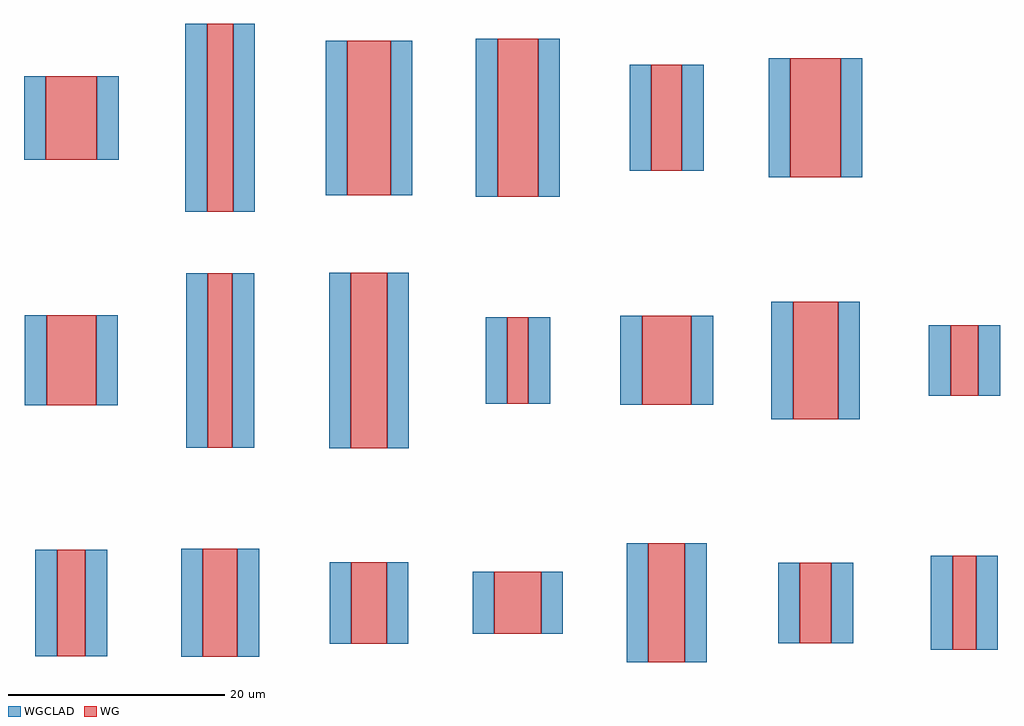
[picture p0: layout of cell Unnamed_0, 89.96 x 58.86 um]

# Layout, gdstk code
from math import pi, radians
import gdstk
lib = gdstk.Library(unit=1e-6, precision=1e-09)
def R(c, l, rs):  # rectangles x0, y0, x1, y1
    for r in rs: c.add(gdstk.rectangle(r[:2], r[2:], *l))
WG = (1, 0)
WGCLAD = (111, 0)

straight_cssym_f7fe636c_ = lib.new_cell('straight_CSsym_f7fe636c_4720_L7701')
R(straight_cssym_f7fe636c_, WG, [(0,-2.36,7.701,2.36)])
R(straight_cssym_f7fe636c_, WGCLAD, [(0,-4.36,7.701,-2.36), (0,2.36,7.701,4.36)])

c_straight_cssym_f7fe636c_ = lib.new_cell('straight_CSsym_f7fe636c_2562_L6484')
R(c_straight_cssym_f7fe636c_, WG, [(0,-1.281,6.484,1.281)])
R(c_straight_cssym_f7fe636c_, WGCLAD, [(0,-3.281,6.484,-1.281), (0,1.281,6.484,3.281)])

c_straight_cssym_f7fe636c__ = lib.new_cell('straight_CSsym_f7fe636c_2604_L9810')
R(c_straight_cssym_f7fe636c__, WG, [(0,-1.302,9.81,1.302)])
R(c_straight_cssym_f7fe636c__, WGCLAD, [(0,-3.302,9.81,-1.302), (0,1.302,9.81,3.302)])

c_straight_cssym_f7fe636c___ = lib.new_cell('straight_CSsym_f7fe636c_3188_L9938')
R(c_straight_cssym_f7fe636c___, WG, [(0,-1.594,9.938,1.594)])
R(c_straight_cssym_f7fe636c___, WGCLAD, [(0,-3.594,9.938,-1.594), (0,1.594,9.938,3.594)])

c_straight_cssym_f7fe636c____ = lib.new_cell('straight_CSsym_f7fe636c_3258_L7513')
R(c_straight_cssym_f7fe636c____, WG, [(0,-1.629,7.513,1.629)])
R(c_straight_cssym_f7fe636c____, WGCLAD, [(0,-3.629,7.513,-1.629), (0,1.629,7.513,3.629)])

c_straight_cssym_f7fe636c_____ = lib.new_cell('straight_CSsym_f7fe636c_4320_L5703')
R(c_straight_cssym_f7fe636c_____, WG, [(0,-2.16,5.703,2.16)])
R(c_straight_cssym_f7fe636c_____, WGCLAD, [(0,-4.16,5.703,-2.16), (0,2.16,5.703,4.16)])

c_straight_cssym_f7fe636c______ = lib.new_cell('straight_CSsym_f7fe636c_3368_L10958')
R(c_straight_cssym_f7fe636c______, WG, [(0,-1.684,10.958,1.684)])
R(c_straight_cssym_f7fe636c______, WGCLAD, [(0,-3.684,10.958,-1.684), (0,1.684,10.958,3.684)])

c_straight_cssym_f7fe636c_______ = lib.new_cell('straight_CSsym_f7fe636c_2906_L7434')
R(c_straight_cssym_f7fe636c_______, WG, [(0,-1.453,7.434,1.453)])
R(c_straight_cssym_f7fe636c_______, WGCLAD, [(0,-3.453,7.434,-1.453), (0,1.453,7.434,3.453)])

c_straight_cssym_f7fe636c________ = lib.new_cell('straight_CSsym_f7fe636c_2406_L17353')
R(c_straight_cssym_f7fe636c________, WG, [(0,-1.203,17.353,1.203)])
R(c_straight_cssym_f7fe636c________, WGCLAD, [(0,-3.203,17.353,-1.203), (0,1.203,17.353,3.203)])

c_straight_cssym_f7fe636c_________ = lib.new_cell('straight_CSsym_f7fe636c_2172_L8646')
R(c_straight_cssym_f7fe636c_________, WG, [(0,-1.086,8.646,1.086)])
R(c_straight_cssym_f7fe636c_________, WGCLAD, [(0,-3.086,8.646,-1.086), (0,1.086,8.646,3.086)])

c_straight_cssym_f7fe636c__________ = lib.new_cell('straight_CSsym_f7fe636c_4016_L14245')
R(c_straight_cssym_f7fe636c__________, WG, [(0,-2.008,14.245,2.008)])
R(c_straight_cssym_f7fe636c__________, WGCLAD, [(0,-4.008,14.245,-2.008), (0,2.008,14.245,4.008)])

c_straight_cssym_f7fe636c___________ = lib.new_cell('straight_CSsym_f7fe636c_4558_L8291')
R(c_straight_cssym_f7fe636c___________, WG, [(0,-2.279,8.291,2.279)])
R(c_straight_cssym_f7fe636c___________, WGCLAD, [(0,-4.279,8.291,-2.279), (0,2.279,8.291,4.279)])

c_straight_cssym_f7fe636c____________ = lib.new_cell('straight_CSsym_f7fe636c_3736_L14575')
R(c_straight_cssym_f7fe636c____________, WG, [(0,-1.868,14.575,1.868)])
R(c_straight_cssym_f7fe636c____________, WGCLAD, [(0,-3.868,14.575,-1.868), (0,1.868,14.575,3.868)])

c_straight_cssym_f7fe636c_____________ = lib.new_cell('straight_CSsym_f7fe636c_2244_L16070')
R(c_straight_cssym_f7fe636c_____________, WG, [(0,-1.122,16.07,1.122)])
R(c_straight_cssym_f7fe636c_____________, WGCLAD, [(0,-3.122,16.07,-1.122), (0,1.122,16.07,3.122)])

c_straight_cssym_f7fe636c______________ = lib.new_cell('straight_CSsym_f7fe636c_2806_L9756')
R(c_straight_cssym_f7fe636c______________, WG, [(0,-1.403,9.756,1.403)])
R(c_straight_cssym_f7fe636c______________, WGCLAD, [(0,-3.403,9.756,-1.403), (0,1.403,9.756,3.403)])

c_straight_cssym_f7fe636c_______________ = lib.new_cell('straight_CSsym_f7fe636c_3324_L16189')
R(c_straight_cssym_f7fe636c_______________, WG, [(0,-1.662,16.189,1.662)])
R(c_straight_cssym_f7fe636c_______________, WGCLAD, [(0,-3.662,16.189,-1.662), (0,1.662,16.189,3.662)])

c_straight_cssym_f7fe636c________________ = lib.new_cell('straight_CSsym_f7fe636c_4626_L10961')
R(c_straight_cssym_f7fe636c________________, WG, [(0,-2.313,10.961,2.313)])
R(c_straight_cssym_f7fe636c________________, WGCLAD, [(0,-4.313,10.961,-2.313), (0,2.313,10.961,4.313)])

c_straight_cssym_f7fe636c_________________ = lib.new_cell('straight_CSsym_f7fe636c_1962_L7957')
R(c_straight_cssym_f7fe636c_________________, WG, [(0,-0.981,7.957,0.981)])
R(c_straight_cssym_f7fe636c_________________, WGCLAD, [(0,-2.981,7.957,-0.981), (0,0.981,7.957,2.981)])

c_straight_cssym_f7fe636c__________________ = lib.new_cell('straight_CSsym_f7fe636c_4538_L8193')
R(c_straight_cssym_f7fe636c__________________, WG, [(0,-2.269,8.193,2.269)])
R(c_straight_cssym_f7fe636c__________________, WGCLAD, [(0,-4.269,8.193,-2.269), (0,2.269,8.193,4.269)])

c_straight_cssym_f7fe636c___________________ = lib.new_cell('straight_CSsym_f7fe636c_4152_L10847')
R(c_straight_cssym_f7fe636c___________________, WG, [(0,-2.076,10.847,2.076)])
R(c_straight_cssym_f7fe636c___________________, WGCLAD, [(0,-4.076,10.847,-2.076), (0,2.076,10.847,4.076)])

unnamed_0 = lib.new_cell('Unnamed_0')
unnamed_0.add(gdstk.Reference(straight_cssym_f7fe636c_, (0,52.033), rotation=pi/2))
unnamed_0.add(gdstk.Reference(c_straight_cssym_f7fe636c_, (82.32,30.288), rotation=pi/2))
unnamed_0.add(gdstk.Reference(c_straight_cssym_f7fe636c__, (0,6.272), rotation=pi/2))
unnamed_0.add(gdstk.Reference(c_straight_cssym_f7fe636c___, (13.72,6.208), rotation=pi/2))
unnamed_0.add(gdstk.Reference(c_straight_cssym_f7fe636c____, (27.44,7.421), rotation=pi/2))
unnamed_0.add(gdstk.Reference(c_straight_cssym_f7fe636c_____, (41.16,8.326), rotation=pi/2))
unnamed_0.add(gdstk.Reference(c_straight_cssym_f7fe636c______, (54.88,5.698), rotation=pi/2))
unnamed_0.add(gdstk.Reference(c_straight_cssym_f7fe636c_______, (68.6,7.46), rotation=pi/2))
unnamed_0.add(gdstk.Reference(c_straight_cssym_f7fe636c________, (13.72,47.207), rotation=pi/2))
unnamed_0.add(gdstk.Reference(c_straight_cssym_f7fe636c_________, (82.32,6.854), rotation=pi/2))
unnamed_0.add(gdstk.Reference(c_straight_cssym_f7fe636c__________, (27.44,48.761), rotation=pi/2))
unnamed_0.add(gdstk.Reference(c_straight_cssym_f7fe636c___________, (0,29.385), rotation=pi/2))
unnamed_0.add(gdstk.Reference(c_straight_cssym_f7fe636c____________, (41.16,48.596), rotation=pi/2))
unnamed_0.add(gdstk.Reference(c_straight_cssym_f7fe636c_____________, (13.72,25.495), rotation=pi/2))
unnamed_0.add(gdstk.Reference(c_straight_cssym_f7fe636c______________, (54.88,51.005), rotation=pi/2))
unnamed_0.add(gdstk.Reference(c_straight_cssym_f7fe636c_______________, (27.44,25.436), rotation=pi/2))
unnamed_0.add(gdstk.Reference(c_straight_cssym_f7fe636c________________, (68.6,50.403), rotation=pi/2))
unnamed_0.add(gdstk.Reference(c_straight_cssym_f7fe636c_________________, (41.16,29.552), rotation=pi/2))
unnamed_0.add(gdstk.Reference(c_straight_cssym_f7fe636c__________________, (54.88,29.434), rotation=pi/2))
unnamed_0.add(gdstk.Reference(c_straight_cssym_f7fe636c___________________, (68.6,28.107), rotation=pi/2))

lib.write_gds('Unnamed_0.gds')
